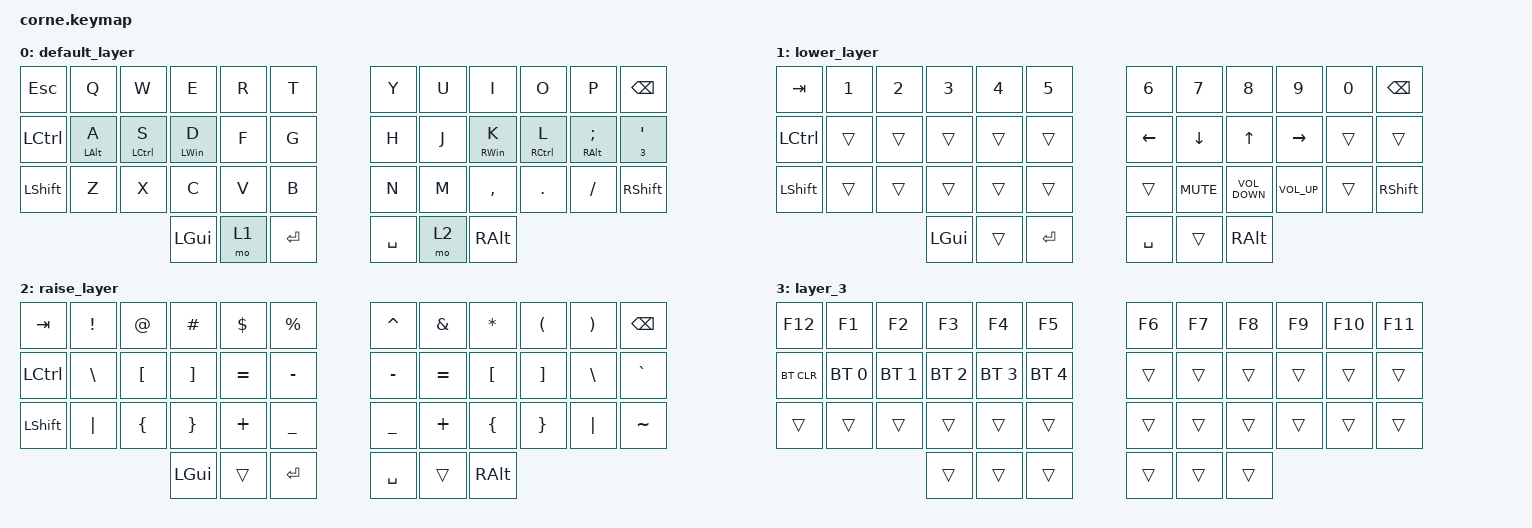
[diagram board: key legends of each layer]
/*
 * Copyright (c) 2020 The ZMK Contributors
 *
 * SPDX-License-Identifier: MIT
 */

#include <behaviors.dtsi>
#include <dt-bindings/zmk/bt.h>
#include <dt-bindings/zmk/keys.h>

/ {
    behaviors {
        hold_and_tap: hold_and_tap {
            compatible = "zmk,behavior-hold-tap";
            label = "HOLD_AND_TAP";
            bindings = <&lt>, <&kp>;

            #binding-cells = <2>;
            tapping-term-ms = <200>;
            flavor = "balanced";
        };

        hml: homewrow_mods_left {
            compatible = "zmk,behavior-hold-tap";
            label = "HOMEROW_MODS_LEFT_HAND";
            bindings = <&kp>, <&kp>;

            #binding-cells = <2>;
            tapping-term-ms = <200>;
            hold-trigger-key-positions = <6 7 8 9 10 11 23 21 22 20 19 18 30 31 32 33 34 35 39 40 41>;
            flavor = "balanced";
        };

        hmr: homewrow_mods_right {
            compatible = "zmk,behavior-hold-tap";
            label = "HOMEROW_MODS_RIGHT_HAND";
            bindings = <&kp>, <&kp>;

            #binding-cells = <2>;
            tapping-term-ms = <200>;
            hold-trigger-key-positions = <0 1 2 3 4 5 12 13 14 15 17 16 24 25 26 27 28 29 36 37 38>;
            flavor = "balanced";
        };
    };

    combos {
        compatible = "zmk,combos";

        capslock {
            bindings = <&kp CAPS>;
            key-positions = <17 18>;
        };
    };

    keymap {
        compatible = "zmk,keymap";

        default_layer {
            // -----------------------------------------------------------------------------------------
            // |  TAB |  Q  |  W  |  E  |  R  |  T  |   |  Y  |  U   |  I  |  O  |  P  | BKSP |
            // | CTRL |  A  |  S  |  D  |  F  |  G  |   |  H  |  J   |  K  |  L  |  ;  |  '   |
            // | SHFT |  Z  |  X  |  C  |  V  |  B  |   |  N  |  M   |  ,  |  .  |  /  | ESC  |
            //                    | GUI | LWR | SPC |   | ENT | RSE  | ALT |

            bindings = <
&kp ESC    &kp Q            &kp W         &kp E            &kp R  &kp T        &kp Y      &kp U  &kp I             &kp O         &kp P                &kp BSPC
&kp LCTRL  &hml LEFT_ALT A  &hml LCTRL S  &hml LEFT_WIN D  &kp F  &kp G        &kp H      &kp J  &hmr RIGHT_WIN K  &hmr RCTRL L  &hmr RIGHT_ALT SEMI  &hold_and_tap 3 SINGLE_QUOTE
&kp LSHFT  &kp Z            &kp X         &kp C            &kp V  &kp B        &kp N      &kp M  &kp COMMA         &kp DOT       &kp FSLH             &kp RIGHT_SHIFT
                                          &kp LGUI         &mo 1  &kp ENTER    &kp SPACE  &mo 2  &kp RALT
            >;
        };

        lower_layer {
            // -----------------------------------------------------------------------------------------
            // |  TAB |  1  |  2  |  3  |  4  |  5  |   |  6  |  7  |  8  |  9  |  0  | BKSP |
            // | BTCLR| BT1 | BT2 | BT3 | BT4 | BT5 |   | LFT | DWN |  UP | RGT |     |      |
            // | SHFT |     |     |     |     |     |   |     |     |     |     |     |      |
            //                    | GUI |     | SPC |   | ENT |     | ALT |

            bindings = <
&kp TAB    &kp N1  &kp N2  &kp N3    &kp N4  &kp N5     &kp N6     &kp N7      &kp N8             &kp N9           &kp N0  &kp BSPC
&kp LCTRL  &trans  &trans  &trans    &trans  &trans     &kp LEFT   &kp DOWN    &kp UP             &kp RIGHT        &trans  &trans
&kp LSHFT  &trans  &trans  &trans    &trans  &trans     &trans     &kp K_MUTE  &kp C_VOLUME_DOWN  &kp C_VOLUME_UP  &trans  &kp RIGHT_SHIFT
                           &kp LGUI  &trans  &kp RET    &kp SPACE  &trans      &kp RALT
            >;
        };

        raise_layer {
            // -----------------------------------------------------------------------------------------
            // |  TAB |  !  |  @  |  #  |  $  |  %  |   |  ^  |  &  |  *  |  (  |  )  | BKSP |
            // | CTRL |     |     |     |     |     |   |  -  |  =  |  [  |  ]  |  \  |  `   |
            // | SHFT |     |     |     |     |     |   |  _  |  +  |  {  |  }  | "|" |  ~   |
            //                    | GUI |     | SPC |   | ENT |     | ALT |

            bindings = <
&kp TAB    &kp EXCL       &kp AT            &kp HASH           &kp DLLR   &kp PRCNT    &kp CARET  &kp AMPS   &kp ASTRK  &kp LPAR  &kp RPAR  &kp BSPC
&kp LCTRL  &kp BACKSLASH  &kp LEFT_BRACKET  &kp RIGHT_BRACKET  &kp EQUAL  &kp MINUS    &kp MINUS  &kp EQUAL  &kp LBKT   &kp RBKT  &kp BSLH  &kp GRAVE
&kp LSHFT  &kp PIPE       &kp LEFT_BRACE    &kp RIGHT_BRACE    &kp PLUS   &kp UNDER    &kp UNDER  &kp PLUS   &kp LBRC   &kp RBRC  &kp PIPE  &kp TILDE
                                            &kp LGUI           &trans     &kp RET      &kp SPACE  &trans     &kp RALT
            >;
        };

        layer_3 {
            bindings = <
&kp F12     &kp F1        &kp F2        &kp F3        &kp F4        &kp F5          &kp F6  &kp F7  &kp F8  &kp F9  &kp F10  &kp F11
&bt BT_CLR  &bt BT_SEL 0  &bt BT_SEL 1  &bt BT_SEL 2  &bt BT_SEL 3  &bt BT_SEL 4    &trans  &trans  &trans  &trans  &trans   &trans
&trans      &trans        &trans        &trans        &trans        &trans          &trans  &trans  &trans  &trans  &trans   &trans
                                        &trans        &trans        &trans          &trans  &trans  &trans
            >;
        };
    };

    conditional_layers {
        compatible = "zmk,conditional-layers";

        layer3 {
            if-layers = <1 2>;
            then-layer = <3>;
        };
    };
};
